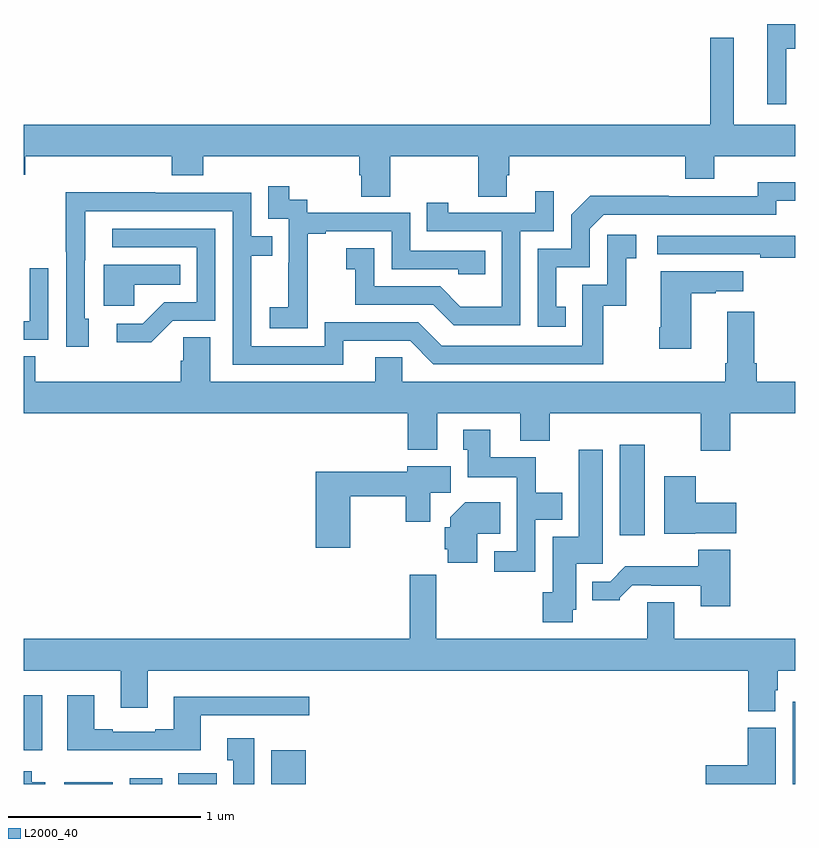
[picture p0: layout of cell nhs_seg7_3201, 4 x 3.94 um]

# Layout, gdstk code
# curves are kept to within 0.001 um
import gdstk
lib = gdstk.Library(unit=1e-6, precision=1e-09)
def R(c, l, rs):  # rectangles x0, y0, x1, y1
    for r in rs: c.add(gdstk.rectangle(r[:2], r[2:], *l))
def P(c, l, *ps):  # polygons
    for p in ps: c.add(gdstk.Polygon(p, *l))
L2000_40 = (2000, 40)

nhs_seg7_3201 = lib.new_cell('nhs_seg7_3201')
R(nhs_seg7_3201, L2000_40, [(315.212,1028,315.463,1028.008), (315.551,1028,315.718,1028.029), (315.803,1028,316,1028.056), (316.283,1028,316.462,1028.176), (318.986,1028,319,1028.425), (315,1028.175,315.097,1028.461), (318.089,1029.288,318.22,1029.757)])
P(nhs_seg7_3201, L2000_40, [(318.952,1031.81),(319,1031.81),(319,1031.938),(318.854,1031.938),(318.854,1031.523),(318.952,1031.523)],
  [(316.899,1031.252),(317.356,1031.252),(317.356,1031.044),(317.503,1031.044),(317.503,1031.154),(317.516,1031.154),(317.516,1031.252),(318.428,1031.252),(318.428,1031.135),(318.58,1031.135),(318.58,1031.252),(319,1031.252),(319,1031.416),(318.679,1031.416),(318.679,1031.866),(318.558,1031.866),(318.558,1031.416),(315,1031.416),(315,1031.156),(315.008,1031.156),(315.008,1031.252),(315.767,1031.252),(315.767,1031.153),(315.932,1031.153),(315.932,1031.252),(316.739,1031.252),(316.739,1031.154),(316.751,1031.154),(316.751,1031.044),(316.899,1031.044)],
  [(317.81,1030.473),(317.761,1030.473),(317.761,1030.677),(317.934,1030.677),(317.934,1030.878),(318.006,1030.95),(318.9,1030.95),(318.9,1031.022),(319,1031.022),(319,1031.119),(318.804,1031.119),(318.804,1031.046),(318.344,1031.046),(318.344,1031.048),(317.936,1031.048),(317.838,1030.95),(317.838,1030.773),(317.664,1030.773),(317.664,1030.368),(317.81,1030.368)],
  [(316.473,1030.567),(316.472,1030.567),(316.472,1030.851),(316.567,1030.851),(316.567,1030.863),(316.908,1030.863),(316.908,1030.668),(317.253,1030.668),(317.253,1030.641),(317.393,1030.641),(317.393,1030.764),(317.004,1030.764),(317.004,1030.959),(316.47,1030.959),(316.47,1031.028),(316.378,1031.028),(316.378,1031.098),(316.269,1031.098),(316.269,1030.929),(316.374,1030.929),(316.374,1030.7),(316.373,1030.7),(316.373,1030.471),(316.275,1030.471),(316.275,1030.361),(316.473,1030.361)],
  [(317.574,1030.863),(317.748,1030.863),(317.748,1031.071),(317.651,1031.071),(317.651,1030.959),(317.2,1030.959),(317.2,1031.011),(317.089,1031.011),(317.089,1030.863),(317.478,1030.863),(317.478,1030.474),(317.264,1030.474),(317.16,1030.578),(316.818,1030.578),(316.818,1030.777),(316.671,1030.777),(316.671,1030.667),(316.72,1030.667),(316.72,1030.482),(317.123,1030.482),(317.228,1030.377),(317.574,1030.377)],
  [(316.657,1030.296),(317.004,1030.296),(317.124,1030.176),(318.004,1030.176),(318.004,1030.478),(318.122,1030.478),(318.122,1030.725),(318.175,1030.725),(318.175,1030.846),(318.024,1030.846),(318.024,1030.587),(317.895,1030.587),(317.895,1030.272),(317.166,1030.272),(317.046,1030.392),(316.56,1030.392),(316.56,1030.269),(316.179,1030.269),(316.179,1030.738),(316.289,1030.738),(316.289,1030.839),(316.179,1030.839),(316.179,1031.064),(315.683,1031.064),(315.683,1031.066),(315.22,1031.066),(315.22,1030.759),(315.222,1030.759),(315.222,1030.266),(315.337,1030.266),(315.337,1030.41),(315.318,1030.41),(315.319,1030.968),(316.083,1030.968),(316.083,1030.173),(316.657,1030.173)],
  [(315.774,1030.401),(315.993,1030.401),(315.993,1030.878),(315.459,1030.878),(315.459,1030.782),(315.897,1030.782),(315.897,1030.497),(315.728,1030.497),(315.617,1030.386),(315.483,1030.386),(315.483,1030.289),(315.661,1030.289)],
  [(319,1030.842),(318.285,1030.842),(318.285,1030.746),(318.817,1030.746),(318.817,1030.726),(319,1030.726)],
  [(315.573,1030.586),(315.812,1030.586),(315.812,1030.69),(315.416,1030.69),(315.416,1030.478),(315.573,1030.478)],
  [(315.129,1030.672),(315.033,1030.672),(315.033,1030.398),(315,1030.398),(315,1030.302),(315.129,1030.302)],
  [(318.46,1030.543),(318.587,1030.543),(318.587,1030.553),(318.73,1030.553),(318.73,1030.657),(318.302,1030.657),(318.302,1030.366),(318.295,1030.366),(318.295,1030.254),(318.46,1030.254)],
  [(316.823,1030.211),(316.823,1030.084),(315.967,1030.084),(315.967,1030.316),(315.828,1030.316),(315.828,1030.193),(315.815,1030.193),(315.815,1030.084),(315.062,1030.084),(315.062,1030.217),(315,1030.217),(315,1029.92),(316.991,1029.92),(316.991,1029.731),(317.143,1029.731),(317.143,1029.92),(317.573,1029.92),(317.573,1029.779),(317.726,1029.779),(317.726,1029.92),(318.509,1029.92),(318.509,1029.726),(318.662,1029.726),(318.662,1029.92),(319,1029.92),(319,1030.084),(318.8,1030.084),(318.8,1030.18),(318.787,1030.18),(318.787,1030.447),(318.647,1030.447),(318.647,1030.18),(318.635,1030.18),(318.635,1030.084),(316.962,1030.084),(316.962,1030.211)],
  [(317.652,1029.368),(317.791,1029.368),(317.791,1029.508),(317.655,1029.508),(317.655,1029.694),(317.419,1029.694),(317.419,1029.835),(317.279,1029.835),(317.279,1029.732),(317.303,1029.732),(317.303,1029.59),(317.556,1029.59),(317.556,1029.207),(317.439,1029.207),(317.439,1029.099),(317.652,1029.099)],
  [(317.847,1028.904),(317.863,1028.904),(317.863,1029.141),(318.001,1029.141),(318.001,1029.733),(317.876,1029.733),(317.876,1029.28),(317.741,1029.28),(317.741,1028.994),(317.69,1028.994),(317.69,1028.838),(317.847,1028.838)],
  [(316.692,1029.49),(316.981,1029.49),(316.981,1029.36),(317.108,1029.36),(317.108,1029.508),(317.215,1029.508),(317.215,1029.646),(316.988,1029.646),(316.988,1029.619),(316.514,1029.619),(316.514,1029.225),(316.692,1029.225)],
  [(318.48,1029.299),(318.694,1029.299),(318.694,1029.457),(318.484,1029.457),(318.484,1029.595),(318.32,1029.595),(318.32,1029.296),(318.48,1029.296)],
  [(317.35,1029.296),(317.471,1029.296),(317.471,1029.46),(317.288,1029.46),(317.21,1029.382),(317.21,1029.33),(317.183,1029.33),(317.183,1029.216),(317.198,1029.216),(317.198,1029.146),(317.35,1029.146)],
  [(318.662,1029.214),(318.497,1029.214),(318.497,1029.127),(318.118,1029.127),(318.039,1029.048),(317.948,1029.048),(317.948,1028.951),(318.09,1028.951),(318.09,1028.966),(318.154,1029.03),(318.253,1029.03),(318.253,1029.027),(318.509,1029.027),(318.509,1028.922),(318.662,1028.922)],
  [(318.895,1028.487),(318.908,1028.487),(318.908,1028.588),(319,1028.588),(319,1028.752),(318.373,1028.752),(318.373,1028.942),(318.233,1028.942),(318.233,1028.752),(317.138,1028.752),(317.138,1029.085),(317.002,1029.085),(317.002,1028.752),(315,1028.752),(315,1028.588),(315.503,1028.588),(315.503,1028.394),(315.643,1028.394),(315.643,1028.588),(318.755,1028.588),(318.755,1028.377),(318.895,1028.377)],
  [(315.919,1028.355),(316.48,1028.355),(316.48,1028.452),(315.779,1028.452),(315.779,1028.284),(315.683,1028.284),(315.683,1028.271),(315.463,1028.271),(315.463,1028.284),(315.367,1028.284),(315.367,1028.461),(315.227,1028.461),(315.227,1028.174),(315.919,1028.174)],
  [(318.898,1028.292),(318.752,1028.292),(318.752,1028.096),(318.534,1028.096),(318.534,1028),(318.898,1028)],
  [(316.195,1028.236),(316.055,1028.236),(316.055,1028.123),(316.088,1028.123),(316.088,1028),(316.195,1028)],
  [(315.112,1028.008),(315.043,1028.008),(315.043,1028.065),(315,1028.065),(315,1028),(315.112,1028)])

lib.write_gds('nhs_seg7_3201.gds')
